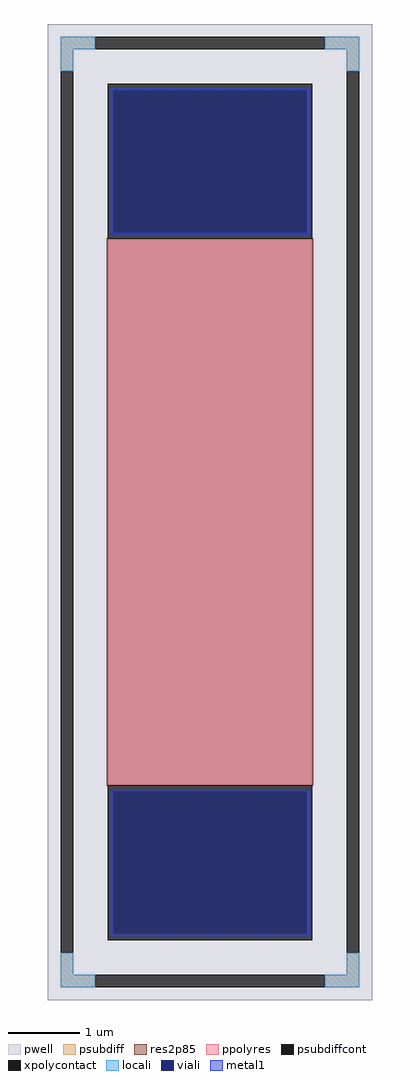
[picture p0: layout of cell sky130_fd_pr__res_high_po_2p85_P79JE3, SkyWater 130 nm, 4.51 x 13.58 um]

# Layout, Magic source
magic
tech sky130A
magscale 1 2
<< pwell >>
rect -451 -1358 451 1358
<< psubdiff >>
rect -415 1288 -319 1322
rect 319 1288 415 1322
rect -415 1226 -381 1288
rect 381 1226 415 1288
rect -415 -1288 -381 -1226
rect 381 -1288 415 -1226
rect -415 -1322 -319 -1288
rect 319 -1322 415 -1288
<< psubdiffcont >>
rect -319 1288 319 1322
rect -415 -1226 -381 1226
rect 381 -1226 415 1226
rect -319 -1322 319 -1288
<< xpolycontact >>
rect -285 760 285 1192
rect -285 -1192 285 -760
<< ppolyres >>
rect -285 -760 285 760
<< locali >>
rect -415 1288 -319 1322
rect 319 1288 415 1322
rect -415 1226 -381 1288
rect 381 1226 415 1288
rect -415 -1288 -381 -1226
rect 381 -1288 415 -1226
rect -415 -1322 -319 -1288
rect 319 -1322 415 -1288
<< viali >>
rect -269 777 269 1174
rect -269 -1174 269 -777
<< metal1 >>
rect -281 1174 281 1180
rect -281 777 -269 1174
rect 269 777 281 1174
rect -281 771 281 777
rect -281 -777 281 -771
rect -281 -1174 -269 -777
rect 269 -1174 281 -777
rect -281 -1180 281 -1174
<< res2p85 >>
rect -287 -762 287 762
<< properties >>
string FIXED_BBOX -398 -1305 398 1305
string gencell sky130_fd_pr__res_high_po_2p85
string library sky130
string parameters w 2.850 l 7.6 m 1 nx 1 wmin 2.850 lmin 0.50 rho 319.8 val 989.515 dummy 0 dw 0.0 term 194.82 sterm 0.0 caplen 0 guard 1 glc 1 grc 1 gtc 1 gbc 1 compatible {sky130_fd_pr__res_high_po_0p35  sky130_fd_pr__res_high_po_0p69 sky130_fd_pr__res_high_po_1p41  sky130_fd_pr__res_high_po_2p85 sky130_fd_pr__res_high_po_5p73} full_metal 1 wmax 2.850 n_guard 0 hv_guard 0 vias 1 viagb 0 viagt 0 viagl 0 viagr 0
<< end >>
